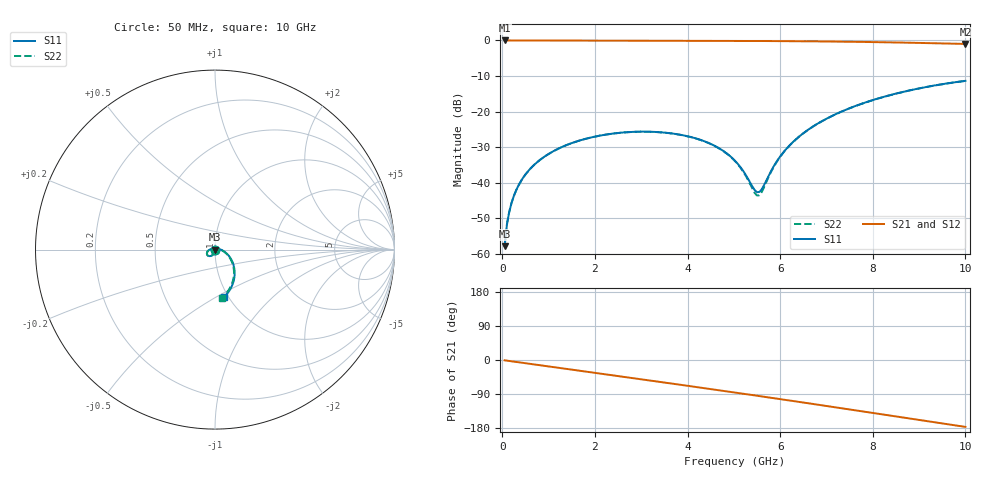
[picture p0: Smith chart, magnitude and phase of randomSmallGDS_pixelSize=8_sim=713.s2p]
! freq	dB(S11)	phase(S11)	dB(S12)	phase(S12)
!  dB(S21)	phase(S21)	dB(S22)	phase(S22)
!S-par simulation data
#  GHz  S  DB  R 50
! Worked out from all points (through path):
!   200 points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, 50 MHz to 10 GHz, reference 50 ohm
!   highest |S21| = 0.00 dB at 50 MHz (marker M1); lowest = -1.0 dB at 10 GHz (marker M2)
!   group delay of S21, straight-line fit = 49 ps
!   lowest |S11| = -57.8 dB at 50 MHz (marker M3), VSWR 1.00, Z = 50 - j0.128 ohm
!   |S11| at or under -10 dB: start of sweep to end of sweep
!   |S22| runs from -57.7 to -11.4 dB; largest |S21 - S12| = 0
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0.05  -57.83 -90.4  -0.00 -0.9  -0.00 -0.9  -57.74 -90.1
0.1  -51.76 -92.2  -0.00 -1.7  -0.00 -1.7  -51.71 -91.7
0.2  -45.66 -94.4  -0.00 -3.4  -0.00 -3.4  -45.66 -94.0
0.35  -40.75 -97.0  -0.00 -6.0  -0.00 -6.0  -40.77 -96.8
0.5  -37.67 -99.5  -0.01 -8.5  -0.01 -8.5  -37.69 -99.5
1  -31.90 -108.2  -0.02 -17.0  -0.02 -17.0  -31.91 -108.2
1.75  -27.82 -121.4  -0.04 -29.7  -0.04 -29.7  -27.83 -121.4
2.55  -25.95 -135.6  -0.06 -43.2  -0.06 -43.2  -25.95 -135.6
3.4  -25.79 -151.1  -0.08 -57.7  -0.08 -57.7  -25.81 -151.0
4.4  -28.52 -172.0  -0.10 -74.9  -0.10 -74.9  -28.55 -171.6
4.75  -30.86 178.2  -0.12 -81.0  -0.12 -81.0  -30.91 179.0
5.05  -34.17 165.8  -0.13 -86.3  -0.13 -86.3  -34.28 167.2
5.25  -37.64 150.4  -0.14 -89.8  -0.14 -89.8  -37.90 152.5
5.45  -42.06 112.5  -0.15 -93.4  -0.15 -93.4  -42.86 114.2
5.55  -42.59 79.2  -0.15 -95.2  -0.15 -95.2  -43.53 77.5
5.85  -35.63 19.1  -0.17 -100.5  -0.17 -100.5  -35.82 15.8
6.05  -31.77 5.9  -0.19 -104.1  -0.19 -104.1  -31.85 3.3
6.7  -24.26 -15.4  -0.25 -115.8  -0.25 -115.8  -24.29 -17.1
7.45  -19.30 -31.9  -0.35 -129.6  -0.35 -129.6  -19.33 -33.4
8.35  -15.44 -49.6  -0.53 -146.2  -0.53 -146.2  -15.47 -51.1
9.15  -13.09 -64.5  -0.73 -160.9  -0.73 -160.9  -13.11 -66.2
10  -11.35 -79.8  -0.98 -176.5  -0.98 -176.5  -11.38 -81.8
